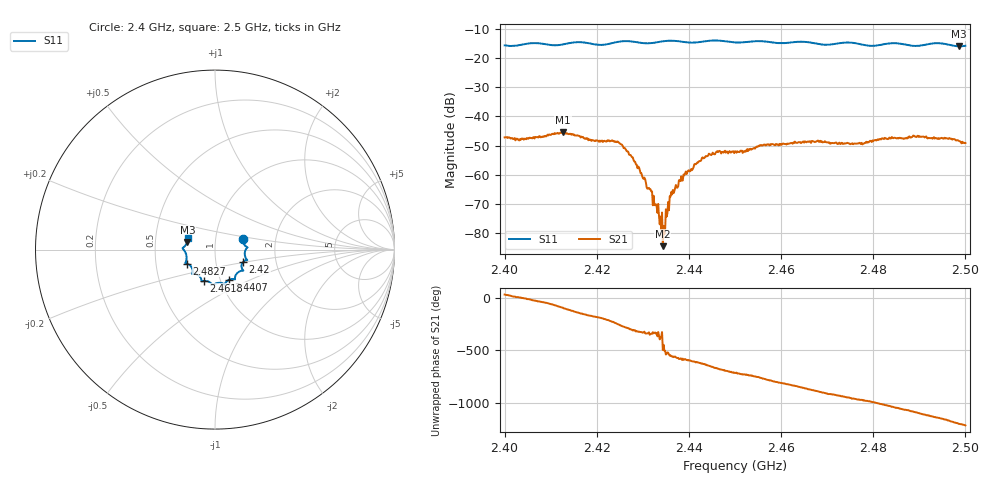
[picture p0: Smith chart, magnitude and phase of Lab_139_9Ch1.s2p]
# Hz S RI R 50
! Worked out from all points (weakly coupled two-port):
!   601 points, 2.4 GHz to 2.5 GHz, reference 50 ohm
!   highest |S21| = -45.47 dB at 2.4127 GHz (marker M1); lowest = -84.6 dB at 2.4343 GHz (marker M2)
!   lowest |S11| = -15.9 dB at 2.4987 GHz (marker M3), VSWR 1.38, Z = 36.5 + j3.24 ohm
!   |S11| at or under -10 dB: start of sweep to end of sweep
!   S12 and S22 are empty: the file has one direction only
!   S11 on the Smith chart (normalised r, x): 2.4 GHz: 1.35, +0.17; 2.42 GHz: 1.35, -0.19; 2.4407 GHz: 1.10, -0.38; 2.4618 GHz: 0.83, -0.30; 2.4827 GHz: 0.72, -0.12; 2.5 GHz: 0.73, +0.10
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2.4e9  0.1546 0.0613  0.00371 0.00229  0 0  0 0
2.412667e9  0.1683 -0.0389  -0.000355 -0.00531  0 0  0 0
2.416667e9  0.1788 -0.0586  -0.00386 -0.00231  0 0  0 0
2.42e9  0.1563 -0.069  -0.00385 0.000157  0 0  0 0
2.424167e9  0.1526 -0.1099  -0.00177 0.00324  0 0  0 0
2.425833e9  0.1578 -0.1167  0.000237 0.00285  0 0  0 0
2.429167e9  0.1423 -0.1193  0.00105 0.000821  0 0  0 0
2.431833e9  0.1175 -0.1388  0.00049 0.000163  0 0  0 0
2.433333e9  0.1116 -0.1529  0.000258 0.000181  0 0  0 0
2.434333e9  0.1111 -0.1603  -4.26e-05 -4.11e-05  0 0  0 0
2.434833e9  0.1114 -0.163  -8.92e-05 -6.38e-05  0 0  0 0
2.436333e9  0.1112 -0.166  -0.000433 0.000146  0 0  0 0
2.440667e9  0.079 -0.1677  -0.00052 0.00108  0 0  0 0
2.444667e9  0.0544 -0.193  0.000757 0.00208  0 0  0 0
2.45e9  0.0269 -0.185  0.0025 0.000306  0 0  0 0
2.461833e9  -0.0616 -0.1748  -0.00101 -0.00329  0 0  0 0
2.466667e9  -0.0758 -0.1681  -0.00349 -0.00147  0 0  0 0
2.477667e9  -0.1244 -0.1176  -0.00101 0.00315  0 0  0 0
2.482667e9  -0.158 -0.0779  0.00218 0.00363  0 0  0 0
2.483333e9  -0.1618 -0.0769  0.0026 0.00324  0 0  0 0
2.498667e9  -0.154 0.0432  -0.00189 -0.00326  0 0  0 0
2.5e9  -0.1511 0.0631  -0.00247 -0.00248  0 0  0 0
